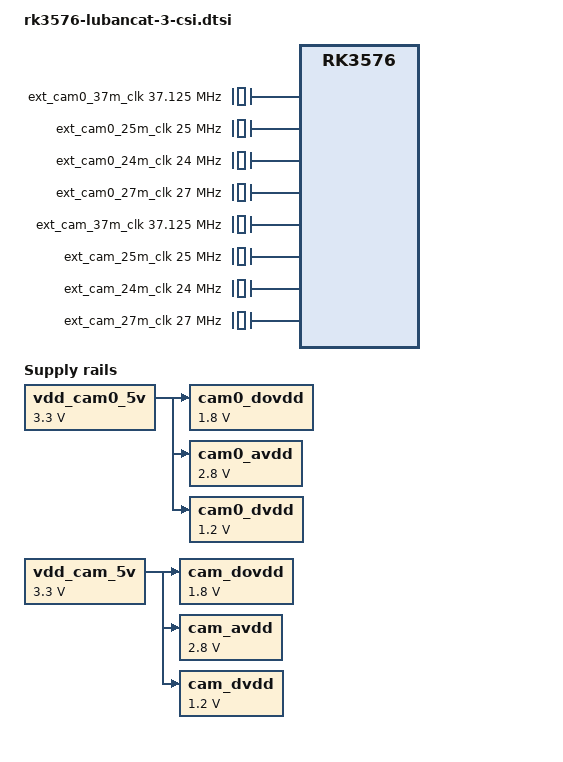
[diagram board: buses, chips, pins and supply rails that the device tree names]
// SPDX-License-Identifier: (GPL-2.0+ OR MIT)
/*
 * Copyright (c) 2024 Rockchip Electronics Co., Ltd.
 * Copyright (c) 2024 EmbedFire <embedfire@embedfire.com>
 *
 */

/ {
	ext_cam0_37m_clk: external-camera-37m-clock {
		compatible = "fixed-clock";
		clock-frequency = <37125000>;
		clock-output-names = "ext_cam0_37m_clk";
		#clock-cells = <0>;
	};

	ext_cam0_25m_clk: external-camera-25m-clock {
		compatible = "fixed-clock";
		clock-frequency = <25000000>;
		clock-output-names = "ext_cam0_25m_clk";
		#clock-cells = <0>;
	};

	ext_cam0_24m_clk: external-camera-24m-clock {
		compatible = "fixed-clock";
		#clock-cells = <0>;
		clock-frequency = <24000000>;
		clock-output-names = "ext_cam0_24m_clk";
	};

	ext_cam0_27m_clk: external-camera-27m-clock {
		compatible = "fixed-clock";
		#clock-cells = <0>;
		clock-frequency = <27000000>;
		clock-output-names = "ext_cam0_27m_clk";
	};

	vdd_cam0_5v: vdd-cam0-5v-regulator {
		compatible = "regulator-fixed";
		regulator-name = "vdd_cam0_5v";
		regulator-always-on;
		regulator-boot-on;
		regulator-min-microvolt = <3300000>;
		regulator-max-microvolt = <3300000>;
	};

	cam0_dovdd: cam0-dovdd {
		compatible = "regulator-fixed";
		regulator-name = "cam0_dovdd";
		regulator-always-on;
		regulator-boot-on;
		regulator-min-microvolt = <1800000>;
		regulator-max-microvolt = <1800000>;
		vin-supply = <&vdd_cam0_5v>;
	};

	cam0_avdd: cam0-avdd {
		compatible = "regulator-fixed";
		regulator-name = "cam0_avdd";
		regulator-always-on;
		regulator-boot-on;
		regulator-min-microvolt = <2800000>;
		regulator-max-microvolt = <2800000>;
		vin-supply = <&vdd_cam0_5v>;
	};

	cam0_dvdd: cam0-dvdd {
		compatible = "regulator-fixed";
		regulator-name = "cam0_dvdd";
		regulator-always-on;
		regulator-boot-on;
		regulator-min-microvolt = <1200000>;
		regulator-max-microvolt = <1200000>;
		vin-supply = <&vdd_cam0_5v>;
	};

    	ext_cam_37m_clk: external-camera-37m-clock {
		compatible = "fixed-clock";
		clock-frequency = <37125000>;
		clock-output-names = "ext_cam_37m_clk";
		#clock-cells = <0>;
	};

	ext_cam_25m_clk: external-camera-25m-clock {
		compatible = "fixed-clock";
		clock-frequency = <25000000>;
		clock-output-names = "ext_cam_25m_clk";
		#clock-cells = <0>;
	};

	ext_cam_24m_clk: external-camera-24m-clock {
		compatible = "fixed-clock";
		#clock-cells = <0>;
		clock-frequency = <24000000>;
		clock-output-names = "ext_cam_24m_clk";
	};

	ext_cam_27m_clk: external-camera-27m-clock {
		compatible = "fixed-clock";
		#clock-cells = <0>;
		clock-frequency = <27000000>;
		clock-output-names = "ext_cam_27m_clk";
	};

	vdd_cam_5v: vdd-cam-5v-regulator {
		compatible = "regulator-fixed";
		regulator-name = "vdd_cam_5v";
		regulator-always-on;
		regulator-boot-on;
		regulator-min-microvolt = <3300000>;
		regulator-max-microvolt = <3300000>;
	};

	cam_dovdd: cam-dovdd {
		compatible = "regulator-fixed";
		regulator-name = "cam_dovdd";
		regulator-always-on;
		regulator-boot-on;
		regulator-min-microvolt = <1800000>;
		regulator-max-microvolt = <1800000>;
		vin-supply = <&vdd_cam_5v>;
	};

	cam_avdd: cam-avdd {
		compatible = "regulator-fixed";
		regulator-name = "cam_avdd";
		regulator-always-on;
		regulator-boot-on;
		regulator-min-microvolt = <2800000>;
		regulator-max-microvolt = <2800000>;
		vin-supply = <&vdd_cam_5v>;
	};

	cam_dvdd: cam-dvdd {
		compatible = "regulator-fixed";
		regulator-name = "cam_dvdd";
		regulator-always-on;
		regulator-boot-on;
		regulator-min-microvolt = <1200000>;
		regulator-max-microvolt = <1200000>;
		vin-supply = <&vdd_cam_5v>;
	};
};

&csi2_dcphy0 {
	status = "disabled";

	ports {
		#address-cells = <1>;
		#size-cells = <0>;
		port@0 {
			reg = <0>;
			#address-cells = <1>;
			#size-cells = <0>;

			dcphy0_in_imx415: endpoint@1 {
				reg = <1>;
				remote-endpoint = <&imx415_out0>;
				data-lanes = <1 2 3 4>;
			};

			dcphy0_in_ov5647: endpoint@2 {
				reg = <2>;
				remote-endpoint = <&ov5647_out0>;
				data-lanes = <1 2>;
			};

			dcphy0_in_ov5648: endpoint@3 {
				reg = <3>;
				remote-endpoint = <&ov5648_out0>;
				data-lanes = <1 2>;
			};

			dcphy0_in_ov8858: endpoint@4 {
				reg = <4>;
				remote-endpoint = <&ov8858_out0>;
				data-lanes = <1 2>;
			};

			dcphy0_in_sc530ai: endpoint@5 {
				reg = <5>;
				remote-endpoint = <&sc530ai_out0>;
				data-lanes = <1 2 3 4>;
			};
		};
		port@1 {
			reg = <1>;
			#address-cells = <1>;
			#size-cells = <0>;

			csidcphy0_out: endpoint@0 {
				reg = <0>;
				remote-endpoint = <&mipi0_csi2_input>;
			};
		};
	};
};

// CAM 1
&csi2_dphy1 {
	status = "disabled";

	ports {
		#address-cells = <1>;
		#size-cells = <0>;
		port@0 {
			reg = <0>;
			#address-cells = <1>;
			#size-cells = <0>;

			dphy1_in_imx415: endpoint@1 {
				reg = <1>;
				remote-endpoint = <&imx415_dphy1_out>;
				data-lanes = <1 2>;
			};
		};
		port@1 {
			reg = <1>;
			#address-cells = <1>;
			#size-cells = <0>;

			csidphy1_out: endpoint@0 {
				reg = <0>;
				remote-endpoint = <&mipi1_csi2_input>;
			};
		};
	};
};

// CAM 2
&csi2_dphy2 {
	status = "disabled";

	ports {
		#address-cells = <1>;
		#size-cells = <0>;
		port@0 {
			reg = <0>;
			#address-cells = <1>;
			#size-cells = <0>;

			dphy2_in_imx415: endpoint@1 {
				reg = <1>;
				remote-endpoint = <&imx415_dphy2_out>;
				data-lanes = <1 2>;
			};
		};
		port@1 {
			reg = <1>;
			#address-cells = <1>;
			#size-cells = <0>;

			csidphy2_out: endpoint@0 {
				reg = <0>;
				remote-endpoint = <&mipi2_csi2_input>;
			};
		};
	};
};

// CAM 3
&csi2_dphy3 {
	status = "disabled";

	ports {
		#address-cells = <1>;
		#size-cells = <0>;
		port@0 {
			reg = <0>;
			#address-cells = <1>;
			#size-cells = <0>;

			dphy3_in_imx415: endpoint@1 {
				reg = <1>;
				remote-endpoint = <&imx415_dphy3_out>;
				data-lanes = <1 2>;
			};
		};
		port@1 {
			reg = <1>;
			#address-cells = <1>;
			#size-cells = <0>;

			csidphy3_out: endpoint@0 {
				reg = <0>;
				remote-endpoint = <&mipi3_csi2_input>;
			};
		};
	};
};

// CAM 4
&csi2_dphy4 {
	status = "disabled";

	ports {
		#address-cells = <1>;
		#size-cells = <0>;
		port@0 {
			reg = <0>;
			#address-cells = <1>;
			#size-cells = <0>;

			dphy4_in_imx415: endpoint@1 {
				reg = <1>;
				remote-endpoint = <&imx415_dphy4_out>;
				data-lanes = <1 2>;
			};
		};
		port@1 {
			reg = <1>;
			#address-cells = <1>;
			#size-cells = <0>;

			csidphy4_out: endpoint@0 {
				reg = <0>;
				remote-endpoint = <&mipi4_csi2_input>;
			};
		};
	};
};

// CAM 0
&i2c3 {
	status = "disabled";
	pinctrl-0 = <&i2c3m0_xfer>;

	dw9714_0: dw9714-0@c {
		status = "okay";
		compatible = "dongwoon,dw9714";
		reg = <0xc>;
		rockchip,camera-module-index = <0>;
		rockchip,vcm-max-current = <100>;
		rockchip,vcm-start-current = <0>;
		rockchip,vcm-rated-current = <100>;
		rockchip,vcm-step-mode = <0xd>;
		rockchip,vcm-dlc-enable = <0>;
		rockchip,vcm-mclk = <0>;
		rockchip,vcm-t-src = <0>;
		rockchip,camera-module-facing = "back";
	};

	imx415_0: imx415@1a {
		compatible = "sony,imx415";
		status = "disabled";
		reg = <0x1a>;
		clocks = <&ext_cam0_37m_clk>;
		clock-names = "xvclk";
		avdd-supply = <&cam0_avdd>;
		dovdd-supply = <&cam0_dovdd>;
		dvdd-supply = <&cam0_dvdd>;
		reset-gpios = <&gpio1 RK_PD3 GPIO_ACTIVE_LOW>;

		rockchip,camera-module-index = <0>;
		rockchip,camera-module-facing = "back";
		rockchip,camera-module-name = "CMK-OT2022-PX1";
		rockchip,camera-module-lens-name = "IR0147-50IRC-8M-F20";
		port {
			imx415_out0: endpoint {
				remote-endpoint = <&dcphy0_in_imx415>;
				data-lanes = <1 2 3 4>;
			};
		};
	};

	ov5647_0: ov5647-0@36 {
		compatible = "ovti,ov5647";
		status = "disabled";
		reg = <0x36>;
		clocks = <&ext_cam0_25m_clk>;
		clock-names = "ext_cam_25m_clk";
		//reset-gpios = <&gpio1 RK_PD3 GPIO_ACTIVE_LOW>;
		pwdn-gpios = <&gpio1 RK_PD2 GPIO_ACTIVE_HIGH>;
		lens-focus = <&dw9714_0>;

		port {
			ov5647_out0: endpoint {
			remote-endpoint = <&dcphy0_in_ov5647>;
			data-lanes = <1 2>;
			};
		};
	};

	ov5648_0: ov5648-0@36 {
		compatible = "ovti,ov5648";
		status = "disabled";
		reg = <0x36>;
		clocks = <&ext_cam0_24m_clk>;
		clock-names = "xvclk";
		dovdd-supply= <&cam0_dovdd>; /* 1.8v */
		avdd-supply = <&cam0_avdd>;  /* 2.8v */
		dvdd-supply = <&cam0_dvdd>;  /* 1.2v */
		reset-gpios = <&gpio1 RK_PD3 GPIO_ACTIVE_LOW>;
		pwdn-gpios = <&gpio1 RK_PD2 GPIO_ACTIVE_HIGH>;
		rotation = <180>;

		rockchip,camera-module-index = <0>;
		rockchip,camera-module-facing = "back";
		rockchip,camera-module-name = "THDS11073";
		rockchip,camera-module-lens-name = "Largan-40122a1";
		lens-focus = <&dw9714_0>;

		port {
			/* MIPI CSI-2 bus endpoint */
			ov5648_out0: endpoint {
				remote-endpoint = <&dcphy0_in_ov5648>;
				clock-lanes = <0>;
				data-lanes = <1 2>;
			};
		};
	};

	ov8858_0: ov8858-0@36 {
		compatible = "ovti,ov8858";
		status = "disabled";
		reg = <0x36>;
		clocks = <&ext_cam0_24m_clk>;
		clock-names = "xvclk";
		dovdd-supply= <&cam0_dovdd>; /* 1.8v */
		avdd-supply = <&cam0_avdd>;  /* 2.8v */
		dvdd-supply = <&cam0_dvdd>;  /* 1.2v */
		reset-gpios = <&gpio1 RK_PD3 GPIO_ACTIVE_LOW>;
		pwdn-gpios = <&gpio1 RK_PD2 GPIO_ACTIVE_HIGH>;
		rotation = <180>;

		rockchip,camera-module-index = <0>;
		rockchip,camera-module-facing = "back";
		rockchip,camera-module-name = "HS5885-BNSM1018-V01";
		rockchip,camera-module-lens-name = "default";
		lens-focus = <&dw9714_0>;
		port {
			/* MIPI CSI-2 bus endpoint */
			ov8858_out0: endpoint {
				remote-endpoint = <&dcphy0_in_ov8858>;
				clock-lanes = <0>;
				data-lanes = <1 2>;
			};
		};
	};

	sc530ai_0: sc530ai-0@30 {
		compatible = "smartsens,sc530ai";
		status = "disabled";
		reg = <0x30>;
		clocks = <&ext_cam0_24m_clk>;
		clock-names = "xvclk";
		reset-gpios = <&gpio1 RK_PD3 GPIO_ACTIVE_LOW>;
		pwdn-gpios = <&gpio1 RK_PD2 GPIO_ACTIVE_HIGH>;
		rockchip,camera-module-index = <0>;
		rockchip,camera-module-facing = "back";
		rockchip,camera-module-name = "CMK-OT2115-PC1";
		rockchip,camera-module-lens-name = "30IRC-F16";
		rotation = <180>;

		port {
			sc530ai_out0: endpoint {
				remote-endpoint = <&dcphy0_in_sc530ai>;
				data-lanes = <1 2 3 4>;
			};
		};
	};
};

// CAM 1
&i2c4 {
	status = "disabled";
	pinctrl-0 = <&i2c4m2_xfer>;

	dcphy1_imx415: dcphy1-imx415@1a {
		compatible = "sony,imx415";
		status = "disabled";
		reg = <0x1a>;
		clocks = <&ext_cam_37m_clk>;
		clock-names = "xvclk";
		power-domains = <&power RK3576_PD_VI>;
		avdd-supply = <&cam_avdd>;
		dovdd-supply = <&cam_dovdd>;
		dvdd-supply = <&cam_dvdd>;
		reset-gpios = <&gpio2 RK_PB3 GPIO_ACTIVE_LOW>;

		rockchip,camera-module-index = <0>;
		rockchip,camera-module-facing = "back";
		rockchip,camera-module-name = "CMK-OT2022-PX1";
		rockchip,camera-module-lens-name = "IR0147-50IRC-8M-F20";
		// NO_HDR:0 HDR_X2:5 HDR_X3:6
		// rockchip,camera-hdr-mode = <0>;
		port {
			imx415_dphy1_out: endpoint {
				remote-endpoint = <&dphy1_in_imx415>;
				data-lanes = <1 2>;
			};
		};
	};
};

// CAM 2
&i2c5 {
	status = "disabled";
	pinctrl-0 = <&i2c5m3_xfer>;

	dcphy2_imx415: dcphy2-imx415@1a {
		compatible = "sony,imx415";
		status = "disabled";
		reg = <0x1a>;
		clocks = <&ext_cam_37m_clk>;
		clock-names = "xvclk";
		power-domains = <&power RK3576_PD_VI>;
		avdd-supply = <&cam_avdd>;
		dovdd-supply = <&cam_dovdd>;
		dvdd-supply = <&cam_dvdd>;
		reset-gpios = <&gpio2 RK_PB5 GPIO_ACTIVE_LOW>;

		rockchip,camera-module-index = <0>;
		rockchip,camera-module-facing = "back";
		rockchip,camera-module-name = "CMK-OT2022-PX1";
		rockchip,camera-module-lens-name = "IR0147-50IRC-8M-F20";
		// NO_HDR:0 HDR_X2:5 HDR_X3:6
		// rockchip,camera-hdr-mode = <0>;
		port {
			imx415_dphy2_out: endpoint {
				remote-endpoint = <&dphy2_in_imx415>;
				data-lanes = <1 2>;
			};
		};
	};
};

// CAM 3
&i2c7 {
	status = "disabled";
	pinctrl-0 = <&i2c7m1_xfer>;

	dcphy3_imx415: dcphy3-imx415@1a {
		compatible = "sony,imx415";
		status = "disabled";
		reg = <0x1a>;
		clocks = <&ext_cam_37m_clk>;
		clock-names = "xvclk";
		power-domains = <&power RK3576_PD_VI>;
		avdd-supply = <&cam_avdd>;
		dovdd-supply = <&cam_dovdd>;
		dvdd-supply = <&cam_dvdd>;
		reset-gpios = <&gpio3 RK_PC7 GPIO_ACTIVE_LOW>;

		rockchip,camera-module-index = <0>;
		rockchip,camera-module-facing = "back";
		rockchip,camera-module-name = "CMK-OT2022-PX1";
		rockchip,camera-module-lens-name = "IR0147-50IRC-8M-F20";
		// NO_HDR:0 HDR_X2:5 HDR_X3:6
		// rockchip,camera-hdr-mode = <0>;
		port {
			imx415_dphy3_out: endpoint {
				remote-endpoint = <&dphy3_in_imx415>;
				data-lanes = <1 2>;
			};
		};
	};
};

// CAM 4
&i2c8 {
	status = "disabled";
	pinctrl-0 = <&i2c8m2_xfer>;

	dcphy4_imx415: dcphy4-imx415@1a {
		compatible = "sony,imx415";
		status = "disabled";
		reg = <0x1a>;
		clocks = <&ext_cam_37m_clk>;
		clock-names = "xvclk";
		power-domains = <&power RK3576_PD_VI>;
		avdd-supply = <&cam_avdd>;
		dovdd-supply = <&cam_dovdd>;
		dvdd-supply = <&cam_dvdd>;
		reset-gpios = <&gpio3 RK_PC0 GPIO_ACTIVE_LOW>;

		rockchip,camera-module-index = <0>;
		rockchip,camera-module-facing = "back";
		rockchip,camera-module-name = "CMK-OT2022-PX1";
		rockchip,camera-module-lens-name = "IR0147-50IRC-8M-F20";
		// NO_HDR:0 HDR_X2:5 HDR_X3:6
		// rockchip,camera-hdr-mode = <0>;
		port {
			imx415_dphy4_out: endpoint {
				remote-endpoint = <&dphy4_in_imx415>;
				data-lanes = <1 2>;
			};
		};
	};
};

// CAM 0
&mipi0_csi2 {
	status = "disabled";

	ports {
		#address-cells = <1>;
		#size-cells = <0>;

		port@0 {
			reg = <0>;
			#address-cells = <1>;
			#size-cells = <0>;

			mipi0_csi2_input: endpoint@1 {
				reg = <1>;
				remote-endpoint = <&csidcphy0_out>;
			};
		};

		port@1 {
			reg = <1>;
			#address-cells = <1>;
			#size-cells = <0>;

			mipi0_csi2_output: endpoint@0 {
				reg = <0>;
				remote-endpoint = <&cif_mipi_in0>;
			};
		};
	};
};

&rkcif_mipi_lvds {
	status = "disabled";

	port {
		cif_mipi_in0: endpoint {
			remote-endpoint = <&mipi0_csi2_output>;
		};
	};
};

&rkcif_mipi_lvds_sditf {
	status = "disabled";

	port {
		mipi_lvds_sditf: endpoint {
			remote-endpoint = <&isp_vir0>;
		};
	};
};

&rkisp_vir0 {
	status = "disabled";

	port {
		#address-cells = <1>;
		#size-cells = <0>;

		isp_vir0: endpoint@0 {
			reg = <0>;
			remote-endpoint = <&mipi_lvds_sditf>;
		};
	};
};

&rkisp_vir0_sditf {
	status = "disabled";
};

&rkvpss_vir0 {
	status = "disabled";
};

// CAM 1
&mipi1_csi2 {
	status = "disabled";

	ports {
		#address-cells = <1>;
		#size-cells = <0>;

		port@0 {
			reg = <0>;
			#address-cells = <1>;
			#size-cells = <0>;

			mipi1_csi2_input: endpoint@1 {
				reg = <1>;
				remote-endpoint = <&csidphy1_out>;
			};
		};

		port@1 {
			reg = <1>;
			#address-cells = <1>;
			#size-cells = <0>;

			mipi1_csi2_output: endpoint@0 {
				reg = <0>;
				remote-endpoint = <&cif_mipi_in1>;
			};
		};
	};
};

// CAM 2
&mipi2_csi2 {
	status = "disabled";

	ports {
		#address-cells = <1>;
		#size-cells = <0>;

		port@0 {
			reg = <0>;
			#address-cells = <1>;
			#size-cells = <0>;

			mipi2_csi2_input: endpoint@1 {
				reg = <1>;
				remote-endpoint = <&csidphy2_out>;
			};
		};

		port@1 {
			reg = <1>;
			#address-cells = <1>;
			#size-cells = <0>;

			mipi2_csi2_output: endpoint@0 {
				reg = <0>;
				remote-endpoint = <&cif_mipi_in2>;
			};
		};
	};
};

// CAM 3
&mipi3_csi2 {
	status = "disabled";

	ports {
		#address-cells = <1>;
		#size-cells = <0>;

		port@0 {
			reg = <0>;
			#address-cells = <1>;
			#size-cells = <0>;

			mipi3_csi2_input: endpoint@1 {
				reg = <1>;
				remote-endpoint = <&csidphy3_out>;
			};
		};

		port@1 {
			reg = <1>;
			#address-cells = <1>;
			#size-cells = <0>;

			mipi3_csi2_output: endpoint@0 {
				reg = <0>;
				remote-endpoint = <&cif_mipi_in3>;
			};
		};
	};
};

// CAM 4
&mipi4_csi2 {
	status = "disabled";

	ports {
		#address-cells = <1>;
		#size-cells = <0>;

		port@0 {
			reg = <0>;
			#address-cells = <1>;
			#size-cells = <0>;

			mipi4_csi2_input: endpoint@1 {
				reg = <1>;
				remote-endpoint = <&csidphy4_out>;
			};
		};

		port@1 {
			reg = <1>;
			#address-cells = <1>;
			#size-cells = <0>;

			mipi4_csi2_output: endpoint@0 {
				reg = <0>;
				remote-endpoint = <&cif_mipi_in4>;
			};
		};
	};
};

&rkcif_mipi_lvds1 {
	status = "disabled";

	port {
		cif_mipi_in1: endpoint {
			remote-endpoint = <&mipi1_csi2_output>;
		};
	};
};

&rkcif_mipi_lvds1_sditf {
	status = "disabled";

	port {
		mipi1_lvds_sditf: endpoint {
			remote-endpoint = <&isp_vir1>;
		};
	};
};

&rkcif_mipi_lvds2 {
	status = "disabled";

	port {
		cif_mipi_in2: endpoint {
			remote-endpoint = <&mipi2_csi2_output>;
		};
	};
};

&rkcif_mipi_lvds2_sditf {
	status = "disabled";

	port {
		mipi2_lvds_sditf: endpoint {
			remote-endpoint = <&isp_vir2>;
		};
	};
};

&rkcif_mipi_lvds3 {
	status = "disabled";

	port {
		cif_mipi_in3: endpoint {
			remote-endpoint = <&mipi3_csi2_output>;
		};
	};
};

&rkcif_mipi_lvds3_sditf {
	status = "disabled";

	port {
		mipi3_lvds_sditf: endpoint {
			remote-endpoint = <&isp_vir3>;
		};
	};
};

&rkcif_mipi_lvds4 {
	status = "disabled";

	port {
		cif_mipi_in4: endpoint {
			remote-endpoint = <&mipi4_csi2_output>;
		};
	};
};

&rkcif_mipi_lvds4_sditf {
	status = "disabled";

	port {
		mipi4_lvds_sditf: endpoint {
			remote-endpoint = <&isp_vir4>;
		};
	};
};

&rkisp_vir1 {
	status = "disabled";

	port {
		#address-cells = <1>;
		#size-cells = <0>;

		isp_vir1: endpoint@0 {
			reg = <0>;
			remote-endpoint = <&mipi1_lvds_sditf>;
		};
	};
};

&rkisp_vir2 {
	status = "disabled";

	port {
		#address-cells = <1>;
		#size-cells = <0>;

		isp_vir2: endpoint@0 {
			reg = <0>;
			remote-endpoint = <&mipi2_lvds_sditf>;
		};
	};
};

&rkisp_vir3 {
	status = "disabled";

	port {
		#address-cells = <1>;
		#size-cells = <0>;

		isp_vir3: endpoint@0 {
			reg = <0>;
			remote-endpoint = <&mipi3_lvds_sditf>;
		};
	};
};

&rkisp_vir4 {
	status = "disabled";

	port {
		#address-cells = <1>;
		#size-cells = <0>;

		isp_vir4: endpoint@0 {
			reg = <0>;
			remote-endpoint = <&mipi4_lvds_sditf>;
		};
	};
};

&rkisp_vir1_sditf {
	status = "disabled";
};

&rkisp_vir2_sditf {
	status = "disabled";
};

&rkisp_vir3_sditf {
	status = "disabled";
};

&rkisp_vir4_sditf {
	status = "disabled";
};

&rkvpss_vir1 {
	status = "disabled";
};

&rkvpss_vir2 {
	status = "disabled";
};

&rkvpss_vir3 {
	status = "disabled";
};

&rkvpss_vir4 {
	status = "disabled";
};

&rkcif {
	status = "disabled";
};

&rkcif_mmu {
	status = "disabled";
};

&rkisp {
	status = "disabled";
};

&rkisp_mmu {
	status = "disabled";
};

&rkvpss {
	status = "disabled";
};

&rkvpss_mmu {
	status = "disabled";
};
